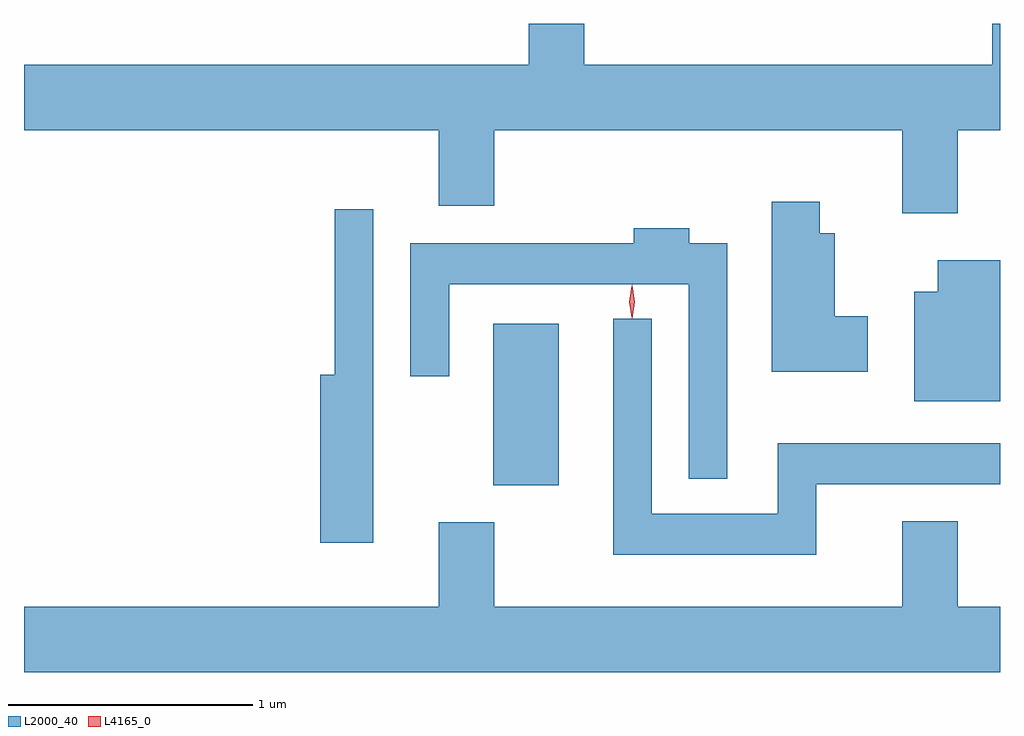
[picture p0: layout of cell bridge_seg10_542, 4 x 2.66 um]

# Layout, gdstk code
import gdstk
lib = gdstk.Library(unit=1e-6, precision=1e-09)
def R(c, l, rs):  # rectangles x0, y0, x1, y1
    for r in rs: c.add(gdstk.rectangle(r[:2], r[2:], *l))
def P(c, l, *ps):  # polygons
    for p in ps: c.add(gdstk.Polygon(p, *l))
L2000_40 = (2000, 40)
L4165_0 = (4165, 0)

bridge_seg10_542 = lib.new_cell('bridge_seg10_542')
R(bridge_seg10_542, L2000_40, [(787.656,2167.961,787.924,2168.624)])
P(bridge_seg10_542, L2000_40, [(789.559,2169.416),(789.732,2169.416),(789.732,2169.852),(789.701,2169.852),(789.701,2169.684),(788.029,2169.684),(788.029,2169.852),(787.801,2169.852),(787.801,2169.684),(785.732,2169.684),(785.732,2169.416),(787.431,2169.416),(787.431,2169.106),(787.659,2169.106),(787.659,2169.416),(789.331,2169.416),(789.331,2169.076),(789.559,2169.076)],
  [(789.189,2168.654),(789.054,2168.654),(789.054,2168.994),(788.994,2168.994),(788.994,2169.124),(788.796,2169.124),(788.796,2168.426),(789.189,2168.426)],
  [(787.164,2169.093),(787.006,2169.093),(787.006,2168.414),(786.946,2168.414),(786.946,2167.726),(787.164,2167.726)],
  [(788.614,2168.954),(788.459,2168.954),(788.459,2169.014),(788.231,2169.014),(788.231,2168.954),(787.316,2168.954),(787.316,2168.408),(787.474,2168.408),(787.474,2168.786),(788.456,2168.786),(788.456,2167.988),(788.614,2167.988)],
  [(789.732,2168.884),(789.476,2168.884),(789.476,2168.754),(789.381,2168.754),(789.381,2168.306),(789.732,2168.306)],
  [(788.979,2167.966),(789.732,2167.966),(789.732,2168.134),(788.821,2168.134),(788.821,2167.844),(788.304,2167.844),(788.304,2168.643),(788.146,2168.643),(788.146,2167.676),(788.979,2167.676)],
  [(789.732,2167.464),(789.559,2167.464),(789.559,2167.814),(789.331,2167.814),(789.331,2167.464),(787.659,2167.464),(787.659,2167.809),(787.431,2167.809),(787.431,2167.464),(785.732,2167.464),(785.732,2167.196),(789.732,2167.196)])
P(bridge_seg10_542, L4165_0, [(788.224,2168.644),(788.215,2168.713),(788.224,2168.782),(788.225,2168.783),(788.225,2168.782),(788.235,2168.713),(788.225,2168.644),(788.225,2168.644)],
  [(788.222,2168.647),(788.222,2168.648),(788.212,2168.714),(788.222,2168.78),(788.222,2168.78),(788.223,2168.78),(788.232,2168.714),(788.223,2168.648)])

lib.write_gds('bridge_seg10_542.gds')
